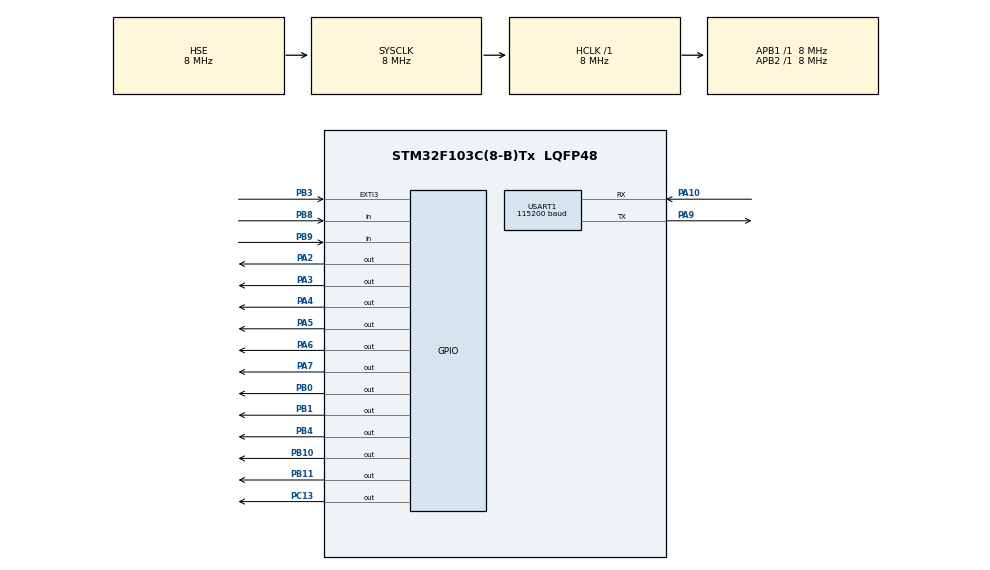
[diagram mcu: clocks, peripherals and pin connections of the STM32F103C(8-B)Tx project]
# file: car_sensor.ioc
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Mcu.Family=STM32F1
Mcu.Name=STM32F103C(8-B)Tx
Mcu.Package=LQFP48
NVIC.EXTI3_IRQn=true\:0\:0\:false\:false\:true\:true\:true\:true
NVIC.PriorityGroup=NVIC_PRIORITYGROUP_4
NVIC.TIM2_IRQn=true\:0\:0\:false\:false\:true\:true\:true\:true
NVIC.TIM4_IRQn=true\:0\:0\:false\:false\:true\:true\:true\:true
NVIC.USART1_IRQn=true\:0\:0\:false\:false\:true\:true\:true\:true
PA10.Mode=Asynchronous
PA10.Signal=USART1_RX
PA13.Mode=Serial_Wire
PA13.Signal=SYS_JTMS-SWDIO
PA14.Mode=Serial_Wire
PA14.Signal=SYS_JTCK-SWCLK
PA2.Signal=GPIO_Output
PA3.Signal=GPIO_Output
PA4.Signal=GPIO_Output
PA5.Signal=GPIO_Output
PA6.Signal=GPIO_Output
PA7.Signal=GPIO_Output
PA9.Mode=Asynchronous
PA9.Signal=USART1_TX
PB0.Signal=GPIO_Output
PB1.Signal=GPIO_Output
PB10.Signal=GPIO_Output
PB11.Signal=GPIO_Output
PB3.GPIO_ModeDefaultEXTI=GPIO_MODE_IT_RISING_FALLING
PB3.Signal=GPXTI3
PB4.Signal=GPIO_Output
PB8.GPIO_PuPd=GPIO_PULLDOWN
PB8.Signal=GPIO_Input
PB9.GPIO_PuPd=GPIO_PULLDOWN
PB9.Signal=GPIO_Input
PC13-TAMPER-RTC.Signal=GPIO_Output
PD0-OSC_IN.Mode=HSE-External-Oscillator
PD0-OSC_IN.Signal=RCC_OSC_IN
PD1-OSC_OUT.Mode=HSE-External-Oscillator
PD1-OSC_OUT.Signal=RCC_OSC_OUT
ProjectManager.HeapSize=0x200
ProjectManager.StackSize=0x400
ProjectManager.TargetToolchain=STM32CubeIDE
RCC.AHBFreq_Value=8000000
RCC.APB1Freq_Value=8000000
RCC.APB1TimFreq_Value=8000000
RCC.APB2Freq_Value=8000000
RCC.APB2TimFreq_Value=8000000
RCC.HCLKFreq_Value=8000000
RCC.SYSCLKFreq_VALUE=8000000
RCC.SYSCLKSource=RCC_SYSCLKSOURCE_HSE
RCC.USBFreq_Value=8000000
TIM2.AutoReloadPreload=TIM_AUTORELOAD_PRELOAD_DISABLE
TIM2.Period=10-1
TIM2.Prescaler=8000-1
TIM3.Prescaler=8-1
TIM4.AutoReloadPreload=TIM_AUTORELOAD_PRELOAD_DISABLE
TIM4.Period=15-1
TIM4.Prescaler=1-1
USART1.BaudRate=115200
USART1.VirtualMode=VM_ASYNC
USART1.WordLength=WORDLENGTH_8B
VP_TIM2_VS_ClockSourceINT.Mode=Internal
VP_TIM3_VS_ClockSourceINT.Mode=Internal
VP_TIM4_VS_ClockSourceINT.Mode=Internal
board=custom

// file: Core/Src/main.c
/* USER CODE BEGIN Header */
/**
  ******************************************************************************
  * @file           : main.c
  * @brief          : Main program body
  ******************************************************************************
  * @attention
  *
  * Copyright (c) 2022 STMicroelectronics.
  * All rights reserved.
  *
  * This software is licensed under terms that can be found in the LICENSE file
  * in the root directory of this software component.
  * If no LICENSE file comes with this software, it is provided AS-IS.
  *
  ******************************************************************************
  */
/* USER CODE END Header */
#include "main.h"

/* USER CODE BEGIN Includes */
#include <string.h>
#include <stdio.h>
/* USER CODE END Includes */

TIM_HandleTypeDef htim2;
TIM_HandleTypeDef htim3;
TIM_HandleTypeDef htim4;

UART_HandleTypeDef huart1;

/* USER CODE BEGIN PV */
uint16_t time = 0;

uint8_t distances[] = {20, 26, 32, 38, 44, 50, 56, 62, 68}; //from closest to farthest

uint8_t led_num = 0;
uint16_t tim2_user_led_cnt = 0;
uint16_t tim2_user_led_stop_cnt = 0;
uint16_t tim2_beeper_cnt = 0;
uint16_t tim2_beeper_stop_cnt = 0;

//LED_PIN A3, A4..., B10, B11
//TRIG_PIN B4
//ECHO_PIN B3
//RX A10, TX A9
/* USER CODE END PV */

void SystemClock_Config(void);
static void MX_GPIO_Init(void);
static void MX_TIM2_Init(void);
static void MX_USART1_UART_Init(void);
static void MX_TIM3_Init(void);
static void MX_TIM4_Init(void);
/* USER CODE BEGIN PFP */
void set_leds(uint8_t[]);
/* USER CODE END PFP */

int main(void)
{

  /* MCU Configuration--------------------------------------------------------*/

  /* Reset of all peripherals, Initializes the Flash interface and the Systick. */
  HAL_Init();

  /* Configure the system clock */
  SystemClock_Config();

  /* Initialize all configured peripherals */
  MX_GPIO_Init();
  MX_TIM2_Init();
  MX_USART1_UART_Init();
  MX_TIM3_Init();
  MX_TIM4_Init();
  /* USER CODE BEGIN 2 */

  HAL_Delay(100);
  HAL_GPIO_WritePin(GPIOB, GPIO_PIN_4, GPIO_PIN_SET);
  HAL_TIM_Base_Start_IT(&htim4);
  HAL_TIM_Base_Start_IT(&htim2);
  /* USER CODE END 2 */

  /* Infinite loop */
  while (1)
  {

  }
}

void SystemClock_Config(void)
{
  RCC_OscInitTypeDef RCC_OscInitStruct = {0};
  RCC_ClkInitTypeDef RCC_ClkInitStruct = {0};

  /** Initializes the RCC Oscillators according to the specified parameters
  * in the RCC_OscInitTypeDef structure.
  */
  RCC_OscInitStruct.OscillatorType = RCC_OSCILLATORTYPE_HSE;
  RCC_OscInitStruct.HSEState = RCC_HSE_ON;
  RCC_OscInitStruct.PLL.PLLState = RCC_PLL_NONE;
  if (HAL_RCC_OscConfig(&RCC_OscInitStruct) != HAL_OK)
  {
    Error_Handler();
  }

  /** Initializes the CPU, AHB and APB buses clocks
  */
  RCC_ClkInitStruct.ClockType = RCC_CLOCKTYPE_HCLK|RCC_CLOCKTYPE_SYSCLK
                              |RCC_CLOCKTYPE_PCLK1|RCC_CLOCKTYPE_PCLK2;
  RCC_ClkInitStruct.SYSCLKSource = RCC_SYSCLKSOURCE_HSE;
  RCC_ClkInitStruct.AHBCLKDivider = RCC_SYSCLK_DIV1;
  RCC_ClkInitStruct.APB1CLKDivider = RCC_HCLK_DIV1;
  RCC_ClkInitStruct.APB2CLKDivider = RCC_HCLK_DIV1;

  if (HAL_RCC_ClockConfig(&RCC_ClkInitStruct, FLASH_LATENCY_0) != HAL_OK)
  {
    Error_Handler();
  }
}

static void MX_TIM2_Init(void)
{

  TIM_ClockConfigTypeDef sClockSourceConfig = {0};
  TIM_MasterConfigTypeDef sMasterConfig = {0};

  htim2.Instance = TIM2;
  htim2.Init.Prescaler = 8000-1;
  htim2.Init.CounterMode = TIM_COUNTERMODE_UP;
  htim2.Init.Period = 10-1;
  htim2.Init.ClockDivision = TIM_CLOCKDIVISION_DIV1;
  htim2.Init.AutoReloadPreload = TIM_AUTORELOAD_PRELOAD_DISABLE;
  if (HAL_TIM_Base_Init(&htim2) != HAL_OK)
  {
    Error_Handler();
  }
  sClockSourceConfig.ClockSource = TIM_CLOCKSOURCE_INTERNAL;
  if (HAL_TIM_ConfigClockSource(&htim2, &sClockSourceConfig) != HAL_OK)
  {
    Error_Handler();
  }
  sMasterConfig.MasterOutputTrigger = TIM_TRGO_RESET;
  sMasterConfig.MasterSlaveMode = TIM_MASTERSLAVEMODE_DISABLE;
  if (HAL_TIMEx_MasterConfigSynchronization(&htim2, &sMasterConfig) != HAL_OK)
  {
    Error_Handler();
  }

}

static void MX_TIM3_Init(void)
{

  TIM_ClockConfigTypeDef sClockSourceConfig = {0};
  TIM_MasterConfigTypeDef sMasterConfig = {0};

  htim3.Instance = TIM3;
  htim3.Init.Prescaler = 8-1;
  htim3.Init.CounterMode = TIM_COUNTERMODE_UP;
  htim3.Init.Period = 65535;
  htim3.Init.ClockDivision = TIM_CLOCKDIVISION_DIV1;
  htim3.Init.AutoReloadPreload = TIM_AUTORELOAD_PRELOAD_DISABLE;
  if (HAL_TIM_Base_Init(&htim3) != HAL_OK)
  {
    Error_Handler();
  }
  sClockSourceConfig.ClockSource = TIM_CLOCKSOURCE_INTERNAL;
  if (HAL_TIM_ConfigClockSource(&htim3, &sClockSourceConfig) != HAL_OK)
  {
    Error_Handler();
  }
  sMasterConfig.MasterOutputTrigger = TIM_TRGO_RESET;
  sMasterConfig.MasterSlaveMode = TIM_MASTERSLAVEMODE_DISABLE;
  if (HAL_TIMEx_MasterConfigSynchronization(&htim3, &sMasterConfig) != HAL_OK)
  {
    Error_Handler();
  }

}

static void MX_TIM4_Init(void)
{

  TIM_ClockConfigTypeDef sClockSourceConfig = {0};
  TIM_MasterConfigTypeDef sMasterConfig = {0};

  htim4.Instance = TIM4;
  htim4.Init.Prescaler = 1-1;
  htim4.Init.CounterMode = TIM_COUNTERMODE_UP;
  htim4.Init.Period = 15-1;
  htim4.Init.ClockDivision = TIM_CLOCKDIVISION_DIV1;
  htim4.Init.AutoReloadPreload = TIM_AUTORELOAD_PRELOAD_DISABLE;
  if (HAL_TIM_Base_Init(&htim4) != HAL_OK)
  {
    Error_Handler();
  }
  sClockSourceConfig.ClockSource = TIM_CLOCKSOURCE_INTERNAL;
  if (HAL_TIM_ConfigClockSource(&htim4, &sClockSourceConfig) != HAL_OK)
  {
    Error_Handler();
  }
  sMasterConfig.MasterOutputTrigger = TIM_TRGO_RESET;
  sMasterConfig.MasterSlaveMode = TIM_MASTERSLAVEMODE_DISABLE;
  if (HAL_TIMEx_MasterConfigSynchronization(&htim4, &sMasterConfig) != HAL_OK)
  {
    Error_Handler();
  }

}

static void MX_USART1_UART_Init(void)
{

  huart1.Instance = USART1;
  huart1.Init.BaudRate = 115200;
  huart1.Init.WordLength = UART_WORDLENGTH_8B;
  huart1.Init.StopBits = UART_STOPBITS_1;
  huart1.Init.Parity = UART_PARITY_NONE;
  huart1.Init.Mode = UART_MODE_TX_RX;
  huart1.Init.HwFlowCtl = UART_HWCONTROL_NONE;
  huart1.Init.OverSampling = UART_OVERSAMPLING_16;
  if (HAL_UART_Init(&huart1) != HAL_OK)
  {
    Error_Handler();
  }

}

static void MX_GPIO_Init(void)
{
  GPIO_InitTypeDef GPIO_InitStruct = {0};

  /* GPIO Ports Clock Enable */
  __HAL_RCC_GPIOC_CLK_ENABLE();
  __HAL_RCC_GPIOD_CLK_ENABLE();
  __HAL_RCC_GPIOA_CLK_ENABLE();
  __HAL_RCC_GPIOB_CLK_ENABLE();

  /*Configure GPIO pin Output Level */
  HAL_GPIO_WritePin(GPIOC, GPIO_PIN_13, GPIO_PIN_RESET);

  /*Configure GPIO pin Output Level */
  HAL_GPIO_WritePin(GPIOA, GPIO_PIN_2|GPIO_PIN_3|GPIO_PIN_4|GPIO_PIN_5
                          |GPIO_PIN_6|GPIO_PIN_7, GPIO_PIN_RESET);

  /*Configure GPIO pin Output Level */
  HAL_GPIO_WritePin(GPIOB, GPIO_PIN_0|GPIO_PIN_1|GPIO_PIN_10|GPIO_PIN_11
                          |GPIO_PIN_4, GPIO_PIN_RESET);

  /*Configure GPIO pin : PC13 */
  GPIO_InitStruct.Pin = GPIO_PIN_13;
  GPIO_InitStruct.Mode = GPIO_MODE_OUTPUT_PP;
  GPIO_InitStruct.Pull = GPIO_NOPULL;
  GPIO_InitStruct.Speed = GPIO_SPEED_FREQ_LOW;
  HAL_GPIO_Init(GPIOC, &GPIO_InitStruct);

  /*Configure GPIO pins : PA2 PA3 PA4 PA5
                           PA6 PA7 */
  GPIO_InitStruct.Pin = GPIO_PIN_2|GPIO_PIN_3|GPIO_PIN_4|GPIO_PIN_5
                          |GPIO_PIN_6|GPIO_PIN_7;
  GPIO_InitStruct.Mode = GPIO_MODE_OUTPUT_PP;
  GPIO_InitStruct.Pull = GPIO_NOPULL;
  GPIO_InitStruct.Speed = GPIO_SPEED_FREQ_LOW;
  HAL_GPIO_Init(GPIOA, &GPIO_InitStruct);

  /*Configure GPIO pins : PB0 PB1 PB10 PB11
                           PB4 */
  GPIO_InitStruct.Pin = GPIO_PIN_0|GPIO_PIN_1|GPIO_PIN_10|GPIO_PIN_11
                          |GPIO_PIN_4;
  GPIO_InitStruct.Mode = GPIO_MODE_OUTPUT_PP;
  GPIO_InitStruct.Pull = GPIO_NOPULL;
  GPIO_InitStruct.Speed = GPIO_SPEED_FREQ_LOW;
  HAL_GPIO_Init(GPIOB, &GPIO_InitStruct);

  /*Configure GPIO pin : PB3 */
  GPIO_InitStruct.Pin = GPIO_PIN_3;
  GPIO_InitStruct.Mode = GPIO_MODE_IT_RISING_FALLING;
  GPIO_InitStruct.Pull = GPIO_NOPULL;
  HAL_GPIO_Init(GPIOB, &GPIO_InitStruct);

  /*Configure GPIO pins : PB8 PB9 */
  GPIO_InitStruct.Pin = GPIO_PIN_8|GPIO_PIN_9;
  GPIO_InitStruct.Mode = GPIO_MODE_INPUT;
  GPIO_InitStruct.Pull = GPIO_PULLDOWN;
  HAL_GPIO_Init(GPIOB, &GPIO_InitStruct);

  /* EXTI interrupt init*/
  HAL_NVIC_SetPriority(EXTI3_IRQn, 0, 0);
  HAL_NVIC_EnableIRQ(EXTI3_IRQn);

}

/* USER CODE BEGIN 4 */
void HAL_TIM_PeriodElapsedCallback(TIM_HandleTypeDef *htim){
	if(htim->Instance==TIM2){
		tim2_user_led_cnt++;
		tim2_beeper_cnt++;
		if(led_num>3){
			switch(led_num){
				case 4:
					if(tim2_beeper_cnt>=40){
						if(HAL_GPIO_ReadPin(GPIOB, GPIO_PIN_9)==GPIO_PIN_RESET){
							HAL_GPIO_TogglePin(GPIOA, GPIO_PIN_2);
						} else {
							HAL_GPIO_WritePin(GPIOA, GPIO_PIN_2, GPIO_PIN_RESET);
						}
						HAL_GPIO_TogglePin(GPIOC, GPIO_PIN_13);
						tim2_beeper_cnt=0;
					}
					break;
				case 5:
					if(tim2_beeper_cnt>=20){
						if(HAL_GPIO_ReadPin(GPIOB, GPIO_PIN_9)==GPIO_PIN_RESET){
							HAL_GPIO_TogglePin(GPIOA, GPIO_PIN_2);
						} else {
							HAL_GPIO_WritePin(GPIOA, GPIO_PIN_2, GPIO_PIN_RESET);
						}
						HAL_GPIO_TogglePin(GPIOC, GPIO_PIN_13);
						tim2_beeper_cnt=0;
					}
					break;
				case 6:
					if(tim2_beeper_cnt>=10){
						if(HAL_GPIO_ReadPin(GPIOB, GPIO_PIN_9)==GPIO_PIN_RESET){
							HAL_GPIO_TogglePin(GPIOA, GPIO_PIN_2);
						} else {
							HAL_GPIO_WritePin(GPIOA, GPIO_PIN_2, GPIO_PIN_RESET);
						}
						HAL_GPIO_TogglePin(GPIOC, GPIO_PIN_13);
						tim2_beeper_cnt=0;
					}
					break;
				case 7:
					if(tim2_beeper_cnt>=5){
						if(HAL_GPIO_ReadPin(GPIOB, GPIO_PIN_9)==GPIO_PIN_RESET){
							HAL_GPIO_TogglePin(GPIOA, GPIO_PIN_2);
						} else {
							HAL_GPIO_WritePin(GPIOA, GPIO_PIN_2, GPIO_PIN_RESET);
						}
						HAL_GPIO_TogglePin(GPIOC, GPIO_PIN_13);
						tim2_beeper_cnt=0;
					}
					tim2_beeper_stop_cnt = 0;
					break;
				case 8:
					if(tim2_beeper_cnt>=2){
						if(HAL_GPIO_ReadPin(GPIOB, GPIO_PIN_9)==GPIO_PIN_RESET && tim2_beeper_stop_cnt < 700){
							HAL_GPIO_TogglePin(GPIOA, GPIO_PIN_2);
							tim2_beeper_stop_cnt++;
						} else {
							HAL_GPIO_WritePin(GPIOA, GPIO_PIN_2, GPIO_PIN_RESET);
						}
						HAL_GPIO_TogglePin(GPIOC, GPIO_PIN_13);
						tim2_beeper_cnt=0;
					}
					tim2_user_led_stop_cnt = 0;
					break;
				case 9:
					if(HAL_GPIO_ReadPin(GPIOB, GPIO_PIN_9)==GPIO_PIN_RESET && tim2_beeper_stop_cnt < 700 /* time[s]*100 */){
						HAL_GPIO_WritePin(GPIOA, GPIO_PIN_2, GPIO_PIN_SET);
						tim2_beeper_stop_cnt++;
					} else {
						HAL_GPIO_WritePin(GPIOA, GPIO_PIN_2, GPIO_PIN_RESET);
					}
					HAL_GPIO_WritePin(GPIOC, GPIO_PIN_13, GPIO_PIN_SET);
					tim2_beeper_cnt=0;

					if(tim2_user_led_stop_cnt < 60000){
						tim2_user_led_stop_cnt++;
					}

					break;
			}
			tim2_user_led_cnt=0;
		} else {
			HAL_GPIO_WritePin(GPIOA, GPIO_PIN_2, GPIO_PIN_RESET);
			if(tim2_user_led_cnt>=50){
				HAL_GPIO_TogglePin(GPIOC, GPIO_PIN_13);
				tim2_user_led_cnt=0;
			}
		}
	}
	if(htim->Instance==TIM4){
		if(HAL_GPIO_ReadPin(GPIOB, GPIO_PIN_4) == GPIO_PIN_SET){
			HAL_TIM_Base_Stop_IT(&htim4);
			__HAL_TIM_SetCounter(&htim4, 0);
			HAL_GPIO_WritePin(GPIOB, GPIO_PIN_4, GPIO_PIN_RESET);
		}
	}
}

void HAL_GPIO_EXTI_Callback(uint16_t GPIO_Pin){
	if(GPIO_Pin == GPIO_PIN_3){
		if(HAL_GPIO_ReadPin(GPIOB, GPIO_PIN_3) == GPIO_PIN_SET){
			HAL_TIM_Base_Start(&htim3);
		}
		if(HAL_GPIO_ReadPin(GPIOB, GPIO_PIN_3) == GPIO_PIN_RESET){
			HAL_TIM_Base_Stop(&htim3);
			time = __HAL_TIM_GetCounter(&htim3);
			__HAL_TIM_SetCounter(&htim3, 0);

			uint8_t led_table[9];
			uint8_t distance = time/58;
			uint8_t led_num_temp = 0;
			for(uint8_t i=0; i<9; i++){
				if(distance < distances[i]){
					led_table[i]=1;
					led_num_temp++;
				} else {
					led_table[i]=0;
				}
			}
			led_num=led_num_temp;

			if(HAL_GPIO_ReadPin(GPIOB, GPIO_PIN_8) == GPIO_PIN_RESET && tim2_user_led_stop_cnt < 1500){
				set_leds(led_table);
			} else {
				HAL_GPIO_WritePin(GPIOB, GPIO_PIN_11, GPIO_PIN_RESET);
				HAL_GPIO_WritePin(GPIOB, GPIO_PIN_10, GPIO_PIN_RESET);
				HAL_GPIO_WritePin(GPIOB, GPIO_PIN_1, GPIO_PIN_RESET);
				HAL_GPIO_WritePin(GPIOB, GPIO_PIN_0, GPIO_PIN_RESET);
				HAL_GPIO_WritePin(GPIOA, GPIO_PIN_7, GPIO_PIN_RESET);
				HAL_GPIO_WritePin(GPIOA, GPIO_PIN_6, GPIO_PIN_RESET);
				HAL_GPIO_WritePin(GPIOA, GPIO_PIN_5, GPIO_PIN_RESET);
				HAL_GPIO_WritePin(GPIOA, GPIO_PIN_4, GPIO_PIN_RESET);
				HAL_GPIO_WritePin(GPIOA, GPIO_PIN_3, GPIO_PIN_RESET);
			}

			char data[20];
			sprintf(data, "%d\n", time/58);
			HAL_UART_Transmit(&huart1, (uint8_t*)data, (uint16_t)strlen(data), 2);
			HAL_GPIO_WritePin(GPIOB, GPIO_PIN_4, GPIO_PIN_SET);
			HAL_TIM_Base_Start_IT(&htim4);
		}
	}
}

void set_leds(uint8_t led_table[]){
	HAL_GPIO_WritePin(GPIOB, GPIO_PIN_11, led_table[0]);
	HAL_GPIO_WritePin(GPIOB, GPIO_PIN_10, led_table[1]);
	HAL_GPIO_WritePin(GPIOB, GPIO_PIN_1, led_table[2]);
	HAL_GPIO_WritePin(GPIOB, GPIO_PIN_0, led_table[3]);
	HAL_GPIO_WritePin(GPIOA, GPIO_PIN_7, led_table[4]);
	HAL_GPIO_WritePin(GPIOA, GPIO_PIN_6, led_table[5]);
	HAL_GPIO_WritePin(GPIOA, GPIO_PIN_5, led_table[6]);
	HAL_GPIO_WritePin(GPIOA, GPIO_PIN_4, led_table[7]);
	HAL_GPIO_WritePin(GPIOA, GPIO_PIN_3, led_table[8]);
}
/* USER CODE END 4 */

void Error_Handler(void)
{
  __disable_irq();
  while (1)
  {
  }
}
